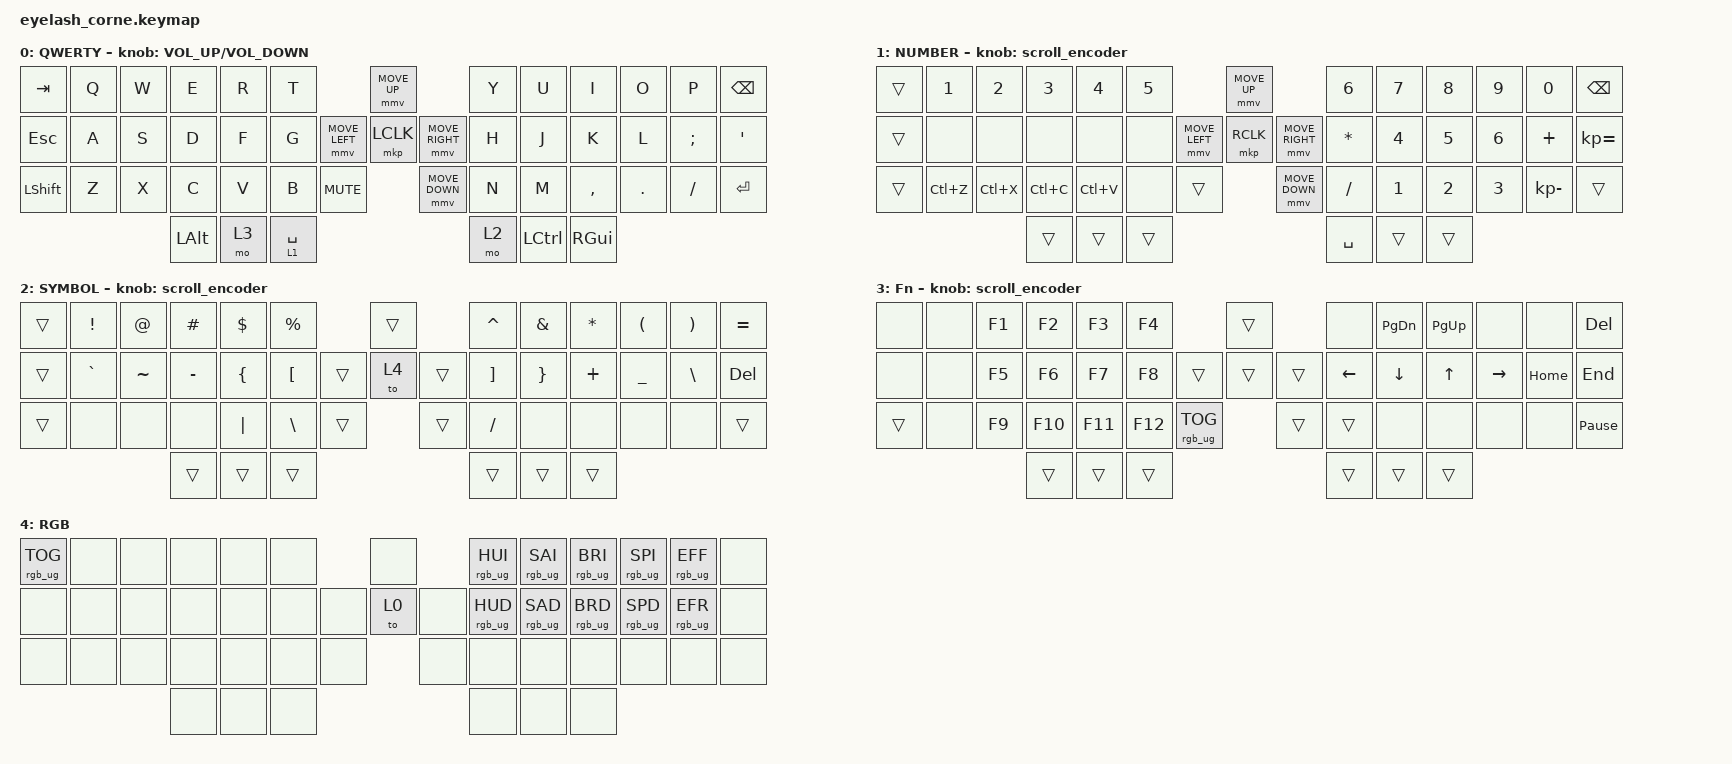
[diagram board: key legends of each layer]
#include <dt-bindings/zmk/mouse.h>
#include <input/processors.dtsi>
#include <behaviors.dtsi>
#include <dt-bindings/zmk/keys.h>
#include <dt-bindings/zmk/pointing.h>
#include <dt-bindings/zmk/rgb.h>

/*

   &mmv_input_listener {
       input-processors = <&zip_xy_scaler 2 1>;
   };

   &msc_input_listener {
       input-processors = <&zip_xy_scaler 2 1>;
   };

 */

#define ZMK_MOUSE_DEFAULT_MOVE_VAL 24000  // 600
#define ZMK_MOUSE_DEFAULT_SCRL_VAL 2400     // 10

/ {
    behaviors {
        td0: td0 {
            compatible = "zmk,behavior-tap-dance";
            display-name = "Shift/Caps Lock Tap Dance";
            #binding-cells = <0>;
            bindings = <&kp LEFT_SHIFT>, <&kp CAPS>;
        };
    };

    rgb_encoder: rgb_encoder {
        compatible = "zmk,behavior-sensor-rotate";
        #sensor-binding-cells = <0>;
        bindings = <&rgb_ug RGB_BRI>, <&rgb_ug RGB_BRD>;
    };

    scroll_encoder: scroll_encoder {
        compatible = "zmk,behavior-sensor-rotate";
        #sensor-binding-cells = <0>;
        bindings = <&msc SCRL_DOWN>, <&msc SCRL_UP>;

        tap-ms = <30>;
    };

    keymap {
        compatible = "zmk,keymap";

        default_layer {
            display-name = "QWERTY";
            bindings = <
&kp TAB         &kp Q  &kp W  &kp E         &kp R  &kp T                                      &mmv MOVE_UP                     &kp Y  &kp U             &kp I          &kp O    &kp P     &kp BSPC
&kp ESCAPE      &kp A  &kp S  &kp D         &kp F  &kp G                      &mmv MOVE_LEFT  &mkp LCLK       &mmv MOVE_RIGHT  &kp H  &kp J             &kp K          &kp L    &kp SEMI  &kp SQT
&kp LEFT_SHIFT  &kp Z  &kp X  &kp C         &kp V  &kp B        &kp K_MUTE                    &mmv MOVE_DOWN                   &kp N  &kp M             &kp COMMA      &kp DOT  &kp FSLH  &kp ENTER
                              &kp LEFT_ALT  &mo 3  &lt 1 SPACE                                                                 &mo 2  &kp LEFT_CONTROL  &kp RIGHT_GUI
            >;

            sensor-bindings = <&inc_dec_kp C_VOLUME_UP C_VOLUME_DOWN>;
        };

        Numbers {
            display-name = "NUMBER";
            bindings = <
&trans  &kp N1     &kp N2     &kp N3     &kp N4     &kp N5                            &mmv MOVE_UP                     &kp N6     &kp N7  &kp N8  &kp N9  &kp N0           &kp BSPC
&trans  &none      &none      &none      &none      &none             &mmv MOVE_LEFT  &mkp RCLK       &mmv MOVE_RIGHT  &kp ASTRK  &kp N4  &kp N5  &kp N6  &kp PLUS         &kp KP_EQUAL
&trans  &kp LC(Z)  &kp LC(X)  &kp LC(C)  &kp LC(V)  &none   &trans                    &mmv MOVE_DOWN                   &kp FSLH   &kp N1  &kp N2  &kp N3  &kp KP_SUBTRACT  &trans
                              &trans     &trans     &trans                                                             &kp SPACE  &trans  &trans
            >;

            sensor-bindings = <&scroll_encoder>;
        };

        Symbols {
            display-name = "SYMBOL";
            bindings = <
&trans  &kp EXCL   &kp AT     &kp HASH   &kp DLLR        &kp PRCNT                           &trans          &kp CARET          &kp AMPS         &kp ASTRK  &kp LPAR   &kp RPAR  &kp EQUAL
&trans  &kp GRAVE  &kp TILDE  &kp MINUS  &kp LEFT_BRACE  &kp LEFT_BRACKET            &trans  &to 4   &trans  &kp RIGHT_BRACKET  &kp RIGHT_BRACE  &kp PLUS   &kp UNDER  &kp BSLH  &kp DEL
&trans  &none      &none      &none      &kp PIPE        &kp BACKSLASH     &trans            &trans          &kp SLASH          &none            &none      &none      &none     &trans
                              &trans     &trans          &trans                                              &trans             &trans           &trans
            >;

            sensor-bindings = <&scroll_encoder>;
        };

        Functions {
            display-name = "Fn";
            bindings = <
&none   &none  &kp F1  &kp F2   &kp F3   &kp F4                              &trans          &none     &kp PG_DN  &kp PG_UP  &none      &none     &kp DEL
&none   &none  &kp F5  &kp F6   &kp F7   &kp F8                      &trans  &trans  &trans  &kp LEFT  &kp DOWN   &kp UP     &kp RIGHT  &kp HOME  &kp END
&trans  &none  &kp F9  &kp F10  &kp F11  &kp F12  &rgb_ug RGB_TOG            &trans          &trans    &none      &none      &none      &none     &kp PAUSE_BREAK
                       &trans   &trans   &trans                                              &trans    &trans     &trans
            >;

            sensor-bindings = <&scroll_encoder>;
        };

        RGB {
            bindings = <
&rgb_ug RGB_TOG  &none  &none  &none  &none  &none                  &none         &rgb_ug RGB_HUI  &rgb_ug RGB_SAI  &rgb_ug RGB_BRI  &rgb_ug RGB_SPI  &rgb_ug RGB_EFF  &none
&none            &none  &none  &none  &none  &none           &none  &to 0  &none  &rgb_ug RGB_HUD  &rgb_ug RGB_SAD  &rgb_ug RGB_BRD  &rgb_ug RGB_SPD  &rgb_ug RGB_EFR  &none
&none            &none  &none  &none  &none  &none  &none           &none         &none            &none            &none            &none            &none            &none
                               &none  &none  &none                                &none            &none            &none
            >;

            label = "RGB";
        };
    };
};
